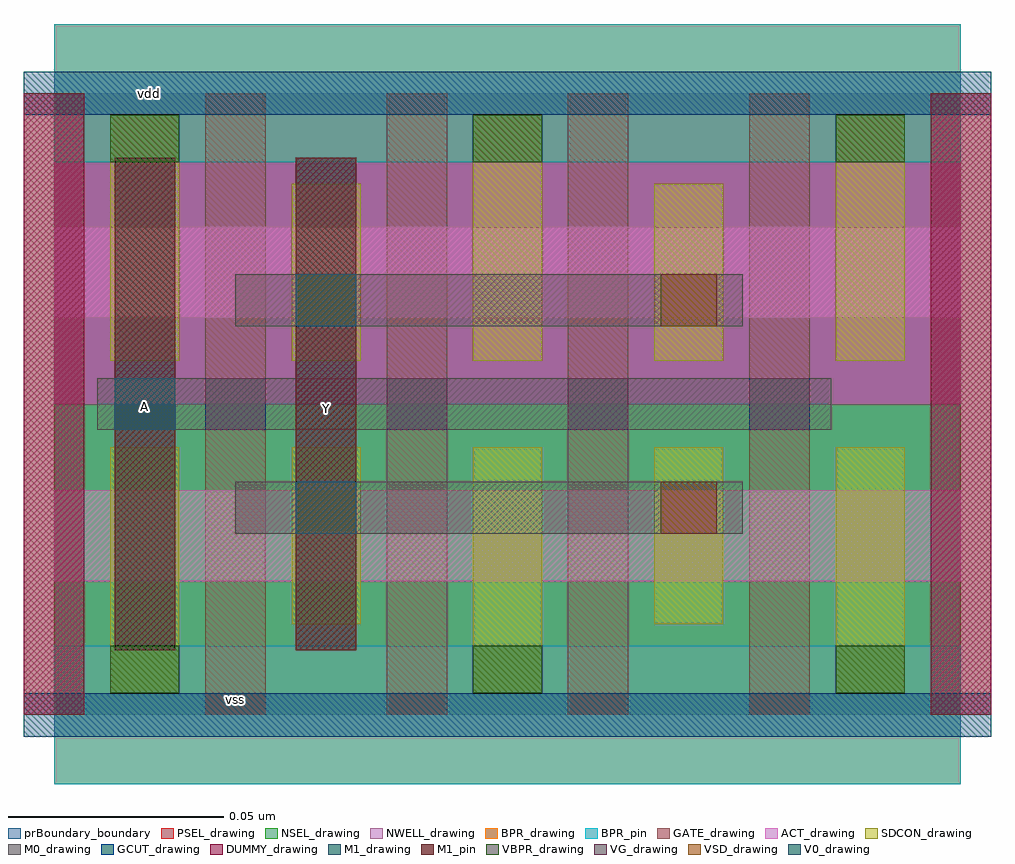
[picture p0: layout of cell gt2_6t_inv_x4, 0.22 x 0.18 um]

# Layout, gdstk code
import gdstk
lib = gdstk.Library(unit=1e-6, precision=5e-10)
def R(c, l, rs):  # rectangles x0, y0, x1, y1
    for r in rs: c.add(gdstk.rectangle(r[:2], r[2:], *l))
def A(c, l, x, y, w, h, nx, ny, dx, dy):  # array of equal rectangles
    R(c, l, [(x+i*dx, y+j*dy, x+i*dx+w, y+j*dy+h) for i in range(nx) for j in range(ny)])
NWELL_drawing = (1, 0)
ACT_drawing = (2, 0)
GATE_drawing = (3, 0)
DUMMY_drawing = (4, 0)
GCUT_drawing = (5, 0)
NSEL_drawing = (6, 0)
PSEL_drawing = (7, 0)
BPR_drawing = (8, 0)
BPR_pin = (8, 251)
VBPR_drawing = (9, 0)
SDCON_drawing = (10, 0)
VSD_drawing = (11, 0)
VG_drawing = (12, 0)
M0_drawing = (20, 0)
V0_drawing = (22, 0)
M1_drawing = (25, 0)
M1_pin = (25, 251)
prBoundary_boundary = (235, 250)

gt2_6t_inv_x4 = lib.new_cell('gt2_6t_inv_x4')
R(gt2_6t_inv_x4, NWELL_drawing, [(0,0.072,0.21,0.144)])
R(gt2_6t_inv_x4, ACT_drawing, [(0,0.031,0.21,0.052), (0,0.092,0.21,0.113)])
A(gt2_6t_inv_x4, GATE_drawing, -0.007, 0, 0.014, 0.144, 6, 1, 0.042, 0)
R(gt2_6t_inv_x4, DUMMY_drawing, [(-0.007,0,0.007,0.144), (0.203,0,0.217,0.144)])
R(gt2_6t_inv_x4, GCUT_drawing, [(-0.007,-0.005,0.217,0.005), (-0.007,0.139,0.217,0.149)])
R(gt2_6t_inv_x4, NSEL_drawing, [(0,0,0.21,0.072)])
R(gt2_6t_inv_x4, PSEL_drawing, [(0,0.072,0.21,0.144)])
R(gt2_6t_inv_x4, BPR_drawing, [(0,-0.016,0.21,0.016), (0,0.128,0.21,0.16)])
R(gt2_6t_inv_x4, BPR_pin, [(0,-0.016,0.21,0.016), (0,0.128,0.21,0.16)])
A(gt2_6t_inv_x4, VBPR_drawing, 0.013, 0.005, 0.016, 0.011, 3, 2, 0.084, 0.123)
A(gt2_6t_inv_x4, SDCON_drawing, 0.013, 0.005, 0.016, 0.057, 3, 2, 0.084, 0.077)
R(gt2_6t_inv_x4, SDCON_drawing, [(0.055,0.021,0.071,0.062), (0.139,0.021,0.155,0.062), (0.055,0.082,0.071,0.123), (0.139,0.082,0.155,0.123)])
R(gt2_6t_inv_x4, VSD_drawing, [(0.0565,0.042,0.0695,0.054), (0.1405,0.042,0.1535,0.054), (0.0565,0.09,0.0695,0.102), (0.1405,0.09,0.1535,0.102)])
A(gt2_6t_inv_x4, VG_drawing, 0.035, 0.066, 0.014, 0.012, 4, 1, 0.042, 0)
R(gt2_6t_inv_x4, M0_drawing, [(0.042,0.042,0.1595,0.054), (0.01,0.066,0.18,0.078), (0.042,0.09,0.1595,0.102)])
R(gt2_6t_inv_x4, V0_drawing, [(0.056,0.042,0.07,0.054), (0.014,0.066,0.028,0.078), (0.056,0.09,0.07,0.102)])
R(gt2_6t_inv_x4, M1_drawing, [(0.014,0.015,0.028,0.129), (0.056,0.015,0.07,0.129)])
R(gt2_6t_inv_x4, M1_pin, [(0.014,0.015,0.028,0.129), (0.056,0.015,0.07,0.129)])
R(gt2_6t_inv_x4, prBoundary_boundary, [(0,0,0.21,0.144)])
gt2_6t_inv_x4.add(gdstk.Label('vss', (0.042,0.0035), layer=8, texttype=251))
gt2_6t_inv_x4.add(gdstk.Label('vdd', (0.022,0.144), layer=8, texttype=251))
gt2_6t_inv_x4.add(gdstk.Label('Y', (0.063,0.071), layer=25, texttype=251))
gt2_6t_inv_x4.add(gdstk.Label('A', (0.021,0.0715), layer=25, texttype=251))

lib.write_gds('gt2_6t_inv_x4.gds')
